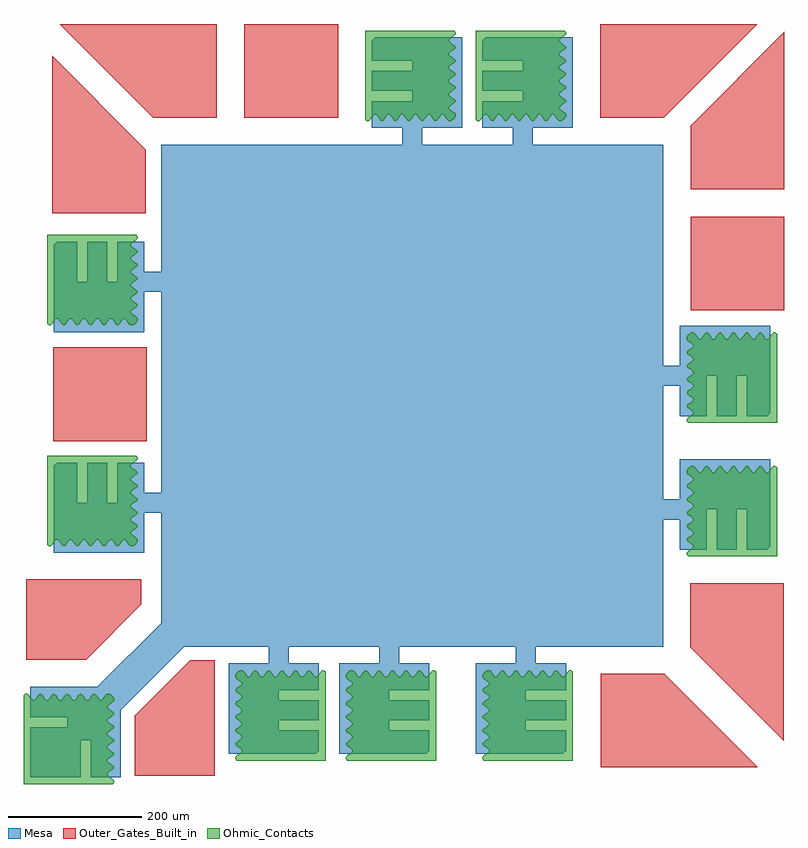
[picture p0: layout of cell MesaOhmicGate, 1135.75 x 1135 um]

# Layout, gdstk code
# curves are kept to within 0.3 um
import gdstk
lib = gdstk.Library(unit=1e-6, precision=1e-09)
def R(c, l, rs):  # rectangles x0, y0, x1, y1
    for r in rs: c.add(gdstk.rectangle(r[:2], r[2:], *l))
def P(c, l, *ps):  # polygons
    for p in ps: c.add(gdstk.Polygon(p, *l))
Mesa = (2, 0)
Ohmic_Contacts = (3, 0)
Outer_Gates_Built_in = (4, 0)

mesaohmicgate = lib.new_cell('MesaOhmicGate')
P(mesaohmicgate, Mesa, [(10,10),(10,85),(65,85),(65,100),(10,100),(10,145),(110,145),(205,240),(205,405),(180,405),(180,345),(45,345),(45,475),(50,480),(80,480),(80,420),(95,420),(95,480),(125,480),(125,420),(140,420),(140,480),(180,480),(180,435),(205,435),(205,735),(180,735),(180,675),(45,675),(45,805),(50,810),(80,810),(80,750),(95,750),(95,810),(125,810),(125,750),(140,750),(140,810),(180,810),(180,765),(205,765),(205,955),(565,955),(565,980),(520,980),(520,1020),(580,1020),(580,1035),(520,1035),(520,1065),(580,1065),(580,1080),(520,1080),(520,1110),(525,1115),(655,1115),(655,980),(595,980),(595,955),(730,955),(730,980),(685,980),(685,1020),(745,1020),(745,1035),(685,1035),(685,1065),(745,1065),(745,1080),(685,1080),(685,1110),(690,1115),(820,1115),(820,980),(760,980),(760,955),(955,955),(955,624.408),(980,624.408),(980,684.408),(1115,684.408),(1115,554.408),(1110,549.408),(1080,549.408),(1080,609.408),(1065,609.408),(1065,549.408),(1035,549.408),(1035,609.408),(1020,609.408),(1020,549.408),(980,549.408),(980,594.408),(955,594.408),(955,425),(980,425),(980,485),(1115,485),(1115,355),(1110,350),(1080,350),(1080,410),(1065,410),(1065,350),(1035,350),(1035,410),(1020,410),(1020,350),(980,350),(980,395),(955,395),(955,205),(765,205),(765,180),(810,180),(810,140),(750,140),(750,125),(810,125),(810,95),(750,95),(750,80),(810,80),(810,50),(805,45),(675,45),(675,180),(735,180),(735,205),(560.863,205),(560.863,180),(605.863,180),(605.863,140),(545.863,140),(545.863,125),(605.863,125),(605.863,95),(545.863,95),(545.863,80),(605.863,80),(605.863,50),(600.863,45),(470.863,45),(470.863,180),(530.863,180),(530.863,205),(395.863,205),(395.863,180),(440.863,180),(440.863,140),(380.863,140),(380.863,125),(440.863,125),(440.863,95),(380.863,95),(380.863,80),(440.863,80),(440.863,50),(435.863,45),(305.863,45),(305.863,180),(365.863,180),(365.863,205),(240,205),(145,110),(145,10),(100,10),(100,65),(85,65),(85,10)])
P(mesaohmicgate, Ohmic_Contacts, [(992.255,340),(990.622,341.667),(989.803,343.333),(990,345),(991.307,346.667),(997.935,351.667),(999.511,353.333),(1000,355),(999.108,356.667),(990.673,363.333),(990,365),(990.781,366.667),(999.277,373.333),(1000,375),(999.248,376.667),(990.736,383.333),(990,385),(990.744,386.667),(999.261,393.333),(1000,395),(999.259,396.667),(992.592,401.666),(990.741,403.333),(990,405),(990.741,406.667),(999.259,413.334),(1000,415),(999.26,416.666),(992.596,421.663),(990.743,423.331),(990,425),(990.737,426.67),(999.251,433.342),(1000,435),(999.273,436.652),(990.773,443.301),(990,445),(990.688,446.72),(999.14,453.453),(1000,455),(999.458,456.468),(993.208,461.052),(991.187,462.887),(990,465),(990.001,467.407),(991.038,469.887),(992.835,472.165),(995.113,473.962),(997.593,474.999),(1000,475),(1002.113,473.813),(1008.532,465.542),(1010,465),(1011.547,465.86),(1018.28,474.312),(1020,475),(1021.699,474.227),(1028.348,465.727),(1030,465),(1031.658,465.749),(1038.33,474.263),(1040,475),(1041.669,474.257),(1048.334,465.74),(1050,465),(1051.666,465.741),(1058.333,474.259),(1060,475),(1061.667,474.259),(1068.333,465.741),(1070,465),(1071.667,465.739),(1078.333,474.256),(1080,475),(1081.667,474.264),(1088.333,465.752),(1090,465),(1091.667,465.723),(1098.333,474.219),(1100,475),(1101.667,474.327),(1108.333,465.892),(1110,465),(1111.667,465.489),(1113.333,467.065),(1118.333,473.693),(1120,475),(1121.667,475.197),(1123.333,474.378),(1125,472.745),(1125,340)],
  [(992.255,539.408),(990.622,541.075),(989.803,542.741),(990,544.408),(991.307,546.075),(997.935,551.075),(999.511,552.741),(1000,554.408),(999.108,556.075),(990.673,562.741),(990,564.408),(990.781,566.075),(999.277,572.741),(1000,574.408),(999.248,576.075),(990.736,582.741),(990,584.408),(990.744,586.075),(999.261,592.741),(1000,594.408),(999.259,596.075),(992.592,601.074),(990.741,602.741),(990,604.408),(990.741,606.075),(997.407,611.075),(999.259,612.742),(1000,614.408),(999.26,616.074),(992.596,621.071),(990.743,622.739),(990,624.408),(990.737,626.078),(999.251,632.75),(1000,634.408),(999.273,636.06),(990.773,642.709),(990,644.408),(990.688,646.128),(999.14,652.861),(1000,654.408),(999.458,655.876),(993.208,660.46),(991.187,662.295),(990,664.408),(990.001,666.814),(991.038,669.295),(992.835,671.573),(995.113,673.369),(997.593,674.407),(1000,674.408),(1002.113,673.221),(1008.532,664.95),(1010,664.408),(1011.547,665.268),(1018.28,673.72),(1020,674.408),(1021.699,673.635),(1028.348,665.134),(1030,664.408),(1031.658,665.157),(1038.33,673.671),(1040,674.408),(1041.669,673.665),(1046.669,666.998),(1048.334,665.148),(1050,664.408),(1051.666,665.149),(1058.333,673.667),(1060,674.408),(1061.667,673.667),(1068.333,665.149),(1070,664.408),(1071.667,665.147),(1078.333,673.664),(1080,674.408),(1081.667,673.672),(1088.333,665.16),(1090,664.408),(1091.667,665.131),(1098.333,673.627),(1100,674.408),(1101.667,673.735),(1108.333,665.3),(1110,664.408),(1111.667,664.897),(1113.333,666.473),(1118.333,673.101),(1120,674.408),(1121.667,674.605),(1123.333,673.786),(1125,672.153),(1125,539.408)],
  [(687.255,35),(685.622,36.667),(684.803,38.333),(685,40),(686.307,41.667),(692.935,46.667),(694.511,48.333),(695,50),(694.108,51.667),(685.673,58.333),(685,60),(685.781,61.667),(694.277,68.333),(695,70),(694.248,71.667),(685.736,78.333),(685,80),(685.744,81.667),(694.261,88.333),(695,90),(694.259,91.667),(687.592,96.666),(685.741,98.333),(685,100),(685.741,101.667),(694.259,108.334),(695,110),(694.26,111.666),(687.596,116.663),(685.743,118.331),(685,120),(685.737,121.67),(694.251,128.342),(695,130),(694.273,131.652),(685.773,138.301),(685,140),(685.688,141.72),(694.14,148.453),(695,150),(694.458,151.468),(688.208,156.052),(686.187,157.887),(685,160),(685.001,162.407),(686.038,164.887),(687.835,167.165),(690.113,168.962),(692.593,169.999),(695,170),(697.113,168.813),(703.532,160.542),(705,160),(706.547,160.86),(713.28,169.312),(715,170),(716.699,169.227),(723.348,160.727),(725,160),(726.658,160.749),(733.33,169.263),(735,170),(736.669,169.257),(743.334,160.74),(745,160),(746.666,160.741),(753.333,169.259),(755,170),(756.667,169.259),(763.333,160.741),(765,160),(766.667,160.739),(773.333,169.256),(775,170),(776.667,169.264),(783.333,160.752),(785,160),(786.667,160.723),(793.333,169.219),(795,170),(796.667,169.327),(803.333,160.892),(805,160),(806.667,160.489),(808.333,162.065),(813.333,168.693),(815,170),(816.667,170.197),(818.333,169.378),(820,167.745),(820,35)],
  [(38.333,684.803),(36.667,685.622),(35,687.255),(35,820),(167.745,820),(169.378,818.333),(170.197,816.667),(170,815),(168.693,813.333),(162.065,808.333),(160.489,806.667),(160,805),(160.892,803.333),(169.327,796.667),(170,795),(169.219,793.333),(160.723,786.667),(160,785),(160.752,783.333),(169.264,776.667),(170,775),(169.256,773.333),(160.739,766.667),(160,765),(160.741,763.333),(167.408,758.334),(169.259,756.667),(170,755),(169.259,753.333),(160.741,746.666),(160,745),(160.74,743.334),(167.404,738.337),(169.257,736.669),(170,735),(169.263,733.33),(160.749,726.658),(160,725),(160.727,723.348),(169.227,716.699),(170,715),(169.312,713.28),(160.86,706.547),(160,705),(160.542,703.532),(166.792,698.948),(168.813,697.113),(170,695),(169.999,692.593),(168.962,690.113),(167.165,687.835),(164.887,686.038),(162.407,685.001),(160,685),(157.887,686.187),(151.468,694.458),(150,695),(148.453,694.14),(141.72,685.688),(140,685),(138.301,685.773),(131.652,694.273),(130,695),(128.342,694.251),(121.67,685.737),(120,685),(118.331,685.743),(111.666,694.26),(110,695),(108.334,694.259),(101.667,685.741),(100,685),(98.333,685.741),(91.667,694.259),(90,695),(88.333,694.261),(81.667,685.744),(80,685),(78.333,685.736),(71.667,694.248),(70,695),(68.333,694.277),(61.667,685.781),(60,685),(58.333,685.673),(51.667,694.108),(50,695),(48.333,694.511),(46.667,692.935),(41.667,686.307),(40,685)],
  [(38.333,354.803),(36.667,355.622),(35,357.255),(35,490),(167.745,490),(169.378,488.333),(170.197,486.667),(170,485),(168.693,483.333),(162.065,478.333),(160.489,476.667),(160,475),(160.892,473.333),(169.327,466.667),(170,465),(169.219,463.333),(160.723,456.667),(160,455),(160.752,453.333),(169.264,446.667),(170,445),(169.256,443.333),(160.739,436.667),(160,435),(160.741,433.333),(167.408,428.334),(169.259,426.667),(170,425),(169.259,423.333),(160.741,416.666),(160,415),(160.74,413.334),(167.404,408.337),(169.257,406.669),(170,405),(169.263,403.33),(160.749,396.658),(160,395),(160.727,393.348),(169.227,386.699),(170,385),(169.312,383.28),(160.86,376.547),(160,375),(160.542,373.532),(166.792,368.948),(168.813,367.113),(170,365),(169.999,362.593),(168.962,360.113),(167.165,357.835),(164.887,356.038),(162.407,355.001),(160,355),(157.887,356.187),(151.468,364.458),(150,365),(148.453,364.14),(141.72,355.688),(140,355),(138.301,355.773),(131.652,364.273),(130,365),(128.342,364.251),(121.67,355.737),(120,355),(118.331,355.743),(111.666,364.26),(110,365),(108.334,364.259),(101.667,355.741),(100,355),(98.333,355.741),(91.667,364.259),(90,365),(88.333,364.261),(81.667,355.744),(80,355),(78.333,355.736),(71.667,364.248),(70,365),(68.333,364.277),(61.667,355.781),(60,355),(58.333,355.673),(51.667,364.108),(50,365),(48.333,364.511),(46.667,362.935),(41.667,356.307),(40,355)],
  [(318.118,35),(316.485,36.667),(315.666,38.333),(315.863,40),(317.17,41.667),(323.799,46.667),(325.374,48.333),(325.863,50),(324.971,51.667),(316.537,58.333),(315.863,60),(316.645,61.667),(325.14,68.333),(325.863,70),(325.112,71.667),(316.599,78.333),(315.863,80),(316.607,81.667),(325.124,88.333),(325.863,90),(325.122,91.667),(318.455,96.666),(316.604,98.333),(315.863,100),(316.604,101.667),(325.122,108.334),(325.863,110),(325.123,111.666),(318.459,116.663),(316.606,118.331),(315.863,120),(316.6,121.67),(325.114,128.342),(325.863,130),(325.137,131.652),(318.5,136.623),(316.636,138.301),(315.863,140),(316.551,141.72),(325.003,148.453),(325.863,150),(325.321,151.468),(319.071,156.052),(317.05,157.887),(315.863,160),(315.864,162.407),(316.902,164.887),(318.698,167.165),(320.976,168.962),(323.457,169.999),(325.863,170),(327.976,168.813),(334.395,160.542),(335.863,160),(337.41,160.86),(344.143,169.312),(345.863,170),(347.562,169.227),(354.211,160.727),(355.863,160),(357.521,160.749),(364.193,169.263),(365.863,170),(367.532,169.257),(372.532,162.591),(374.198,160.74),(375.863,160),(377.529,160.741),(379.196,162.593),(384.196,169.259),(385.863,170),(387.53,169.259),(394.197,160.741),(395.863,160),(397.53,160.739),(404.196,169.256),(405.863,170),(407.53,169.264),(414.196,160.752),(415.863,160),(417.53,160.723),(424.196,169.219),(425.863,170),(427.53,169.327),(434.196,160.892),(435.863,160),(437.53,160.489),(439.196,162.065),(444.196,168.693),(445.863,170),(447.53,170.197),(449.196,169.378),(450.863,167.745),(450.863,35)],
  [(483.118,35),(481.485,36.667),(480.666,38.333),(480.863,40),(482.17,41.667),(488.799,46.667),(490.374,48.333),(490.863,50),(489.971,51.667),(481.537,58.333),(480.863,60),(481.645,61.667),(490.14,68.333),(490.863,70),(490.112,71.667),(481.599,78.333),(480.863,80),(481.607,81.667),(490.124,88.333),(490.863,90),(490.122,91.667),(483.455,96.666),(481.604,98.333),(480.863,100),(481.604,101.667),(490.122,108.334),(490.863,110),(490.123,111.666),(483.459,116.663),(481.606,118.331),(480.863,120),(481.6,121.67),(490.114,128.342),(490.863,130),(490.137,131.652),(483.5,136.623),(481.636,138.301),(480.863,140),(481.551,141.72),(490.003,148.453),(490.863,150),(490.321,151.468),(484.071,156.052),(482.05,157.887),(480.863,160),(480.864,162.407),(481.902,164.887),(483.698,167.165),(485.976,168.962),(488.457,169.999),(490.863,170),(492.976,168.813),(499.395,160.542),(500.863,160),(502.41,160.86),(509.143,169.312),(510.863,170),(512.562,169.227),(519.211,160.727),(520.863,160),(522.521,160.749),(529.193,169.263),(530.863,170),(532.532,169.257),(537.532,162.591),(539.198,160.74),(540.863,160),(542.529,160.741),(544.196,162.593),(549.196,169.259),(550.863,170),(552.53,169.259),(559.197,160.741),(560.863,160),(562.53,160.739),(569.196,169.256),(570.863,170),(572.53,169.264),(579.196,160.752),(580.863,160),(582.53,160.723),(589.196,169.219),(590.863,170),(592.53,169.327),(599.196,160.892),(600.863,160),(602.53,160.489),(604.196,162.065),(609.196,168.693),(610.863,170),(612.53,170.197),(614.196,169.378),(615.863,167.745),(615.863,35)],
  [(0,0),(0,132.745),(1.667,134.378),(3.333,135.197),(5,135),(6.667,133.693),(11.667,127.065),(13.333,125.489),(15,125),(16.667,125.892),(23.333,134.327),(25,135),(26.667,134.219),(33.333,125.723),(35,125),(36.667,125.752),(43.333,134.264),(45,135),(46.667,134.256),(53.333,125.739),(55,125),(56.667,125.741),(61.666,132.408),(63.333,134.259),(65,135),(66.667,134.259),(73.334,125.741),(75,125),(76.666,125.74),(81.663,132.404),(83.331,134.257),(85,135),(86.67,134.263),(93.342,125.749),(95,125),(96.652,125.727),(103.301,134.227),(105,135),(106.72,134.312),(113.453,125.86),(115,125),(116.468,125.542),(121.052,131.792),(122.887,133.813),(125,135),(127.407,134.999),(129.887,133.962),(132.165,132.165),(133.962,129.887),(134.999,127.407),(135,125),(133.813,122.887),(125.542,116.468),(125,115),(125.86,113.453),(134.312,106.72),(135,105),(134.227,103.301),(125.727,96.652),(125,95),(125.749,93.342),(134.263,86.67),(135,85),(134.257,83.331),(125.74,76.666),(125,75),(125.741,73.334),(134.259,66.667),(135,65),(134.259,63.333),(125.741,56.667),(125,55),(125.739,53.333),(134.256,46.667),(135,45),(134.264,43.333),(125.752,36.667),(125,35),(125.723,33.333),(134.219,26.667),(135,25),(134.327,23.333),(125.892,16.667),(125,15),(125.489,13.333),(127.065,11.667),(133.693,6.667),(135,5),(135.197,3.333),(134.378,1.667),(132.745,0)],
  [(513.333,989.803),(511.667,990.622),(510,992.255),(510,1125),(642.745,1125),(644.378,1123.333),(645.197,1121.667),(645,1120),(643.693,1118.333),(637.065,1113.333),(635.489,1111.667),(635,1110),(635.892,1108.333),(644.327,1101.667),(645,1100),(644.219,1098.333),(635.723,1091.667),(635,1090),(635.752,1088.333),(644.264,1081.667),(645,1080),(644.256,1078.333),(635.739,1071.667),(635,1070),(635.741,1068.333),(642.408,1063.334),(644.259,1061.667),(645,1060),(644.259,1058.333),(635.741,1051.666),(635,1050),(635.74,1048.334),(642.404,1043.337),(644.257,1041.669),(645,1040),(644.263,1038.33),(635.749,1031.658),(635,1030),(635.727,1028.348),(644.227,1021.699),(645,1020),(644.312,1018.28),(635.86,1011.547),(635,1010),(635.542,1008.532),(641.792,1003.948),(643.813,1002.113),(645,1000),(644.999,997.593),(643.962,995.113),(642.165,992.835),(639.887,991.038),(637.407,990.001),(635,990),(632.887,991.187),(626.468,999.458),(625,1000),(623.453,999.14),(616.72,990.688),(615,990),(613.301,990.773),(606.652,999.273),(605,1000),(603.342,999.251),(596.67,990.737),(595,990),(593.331,990.743),(586.666,999.26),(585,1000),(583.334,999.259),(576.667,990.741),(575,990),(573.333,990.741),(566.667,999.259),(565,1000),(563.333,999.261),(556.667,990.744),(555,990),(553.333,990.736),(546.667,999.248),(545,1000),(543.333,999.277),(536.667,990.781),(535,990),(533.333,990.673),(526.667,999.108),(525,1000),(523.333,999.511),(521.667,997.935),(516.667,991.307),(515,990)],
  [(678.333,989.803),(676.667,990.622),(675,992.255),(675,1125),(807.745,1125),(809.378,1123.333),(810.197,1121.667),(810,1120),(808.693,1118.333),(802.065,1113.333),(800.489,1111.667),(800,1110),(800.892,1108.333),(809.327,1101.667),(810,1100),(809.219,1098.333),(800.723,1091.667),(800,1090),(800.752,1088.333),(809.264,1081.667),(810,1080),(809.256,1078.333),(800.739,1071.667),(800,1070),(800.741,1068.333),(807.408,1063.334),(809.259,1061.667),(810,1060),(809.259,1058.333),(800.741,1051.666),(800,1050),(800.74,1048.334),(807.404,1043.337),(809.257,1041.669),(810,1040),(809.263,1038.33),(800.749,1031.658),(800,1030),(800.727,1028.348),(809.227,1021.699),(810,1020),(809.312,1018.28),(800.86,1011.547),(800,1010),(800.542,1008.532),(806.792,1003.948),(808.813,1002.113),(810,1000),(809.999,997.593),(808.962,995.113),(807.165,992.835),(804.887,991.038),(802.407,990.001),(800,990),(797.887,991.187),(791.468,999.458),(790,1000),(788.453,999.14),(781.72,990.688),(780,990),(778.301,990.773),(771.652,999.273),(770,1000),(768.342,999.251),(761.67,990.737),(760,990),(758.331,990.743),(751.666,999.26),(750,1000),(748.334,999.259),(741.667,990.741),(740,990),(738.333,990.741),(731.667,999.259),(730,1000),(728.333,999.261),(721.667,990.744),(720,990),(718.333,990.736),(711.667,999.248),(710,1000),(708.333,999.277),(701.667,990.781),(700,990),(698.333,990.673),(691.667,999.108),(690,1000),(688.333,999.511),(686.667,997.935),(681.667,991.307),(680,990)])
R(mesaohmicgate, Outer_Gates_Built_in, [(44,512,184,652), (995.75,707.25,1135.75,847.25), (329.5,995,469.5,1135)])
P(mesaohmicgate, Outer_Gates_Built_in, [(3.5,185.5),(3.5,305.5),(175.5,305.5),(175.5,268.722),(93.154,185.5)],
  [(1135,64.5),(995,204.5),(995,299.5),(1135,299.5)],
  [(861.5,25),(861.5,165),(956.5,165),(1096.5,25)],
  [(165.5,12.5),(165.5,102.154),(248.722,184.5),(285.5,184.5),(285.5,12.5)],
  [(860.75,994.75),(860.75,1134.75),(1095.75,1134.75),(955.75,994.75)],
  [(995.75,888.25),(995.75,983.25),(1135.75,1123.25),(1135.75,888.25)],
  [(42.5,852.5),(42.5,1087.5),(182.5,947.5),(182.5,852.5)],
  [(193.5,995),(53.5,1135),(288.5,1135),(288.5,995)],
  [(76.5,876.5),(76.5,876.5),(76.5,876.5),(76.5,876.5)],
  [(170.5,1029.5),(170.5,1029.5),(170.5,1029.5),(170.5,1029.5)])

lib.write_gds('MesaOhmicGate.gds')
